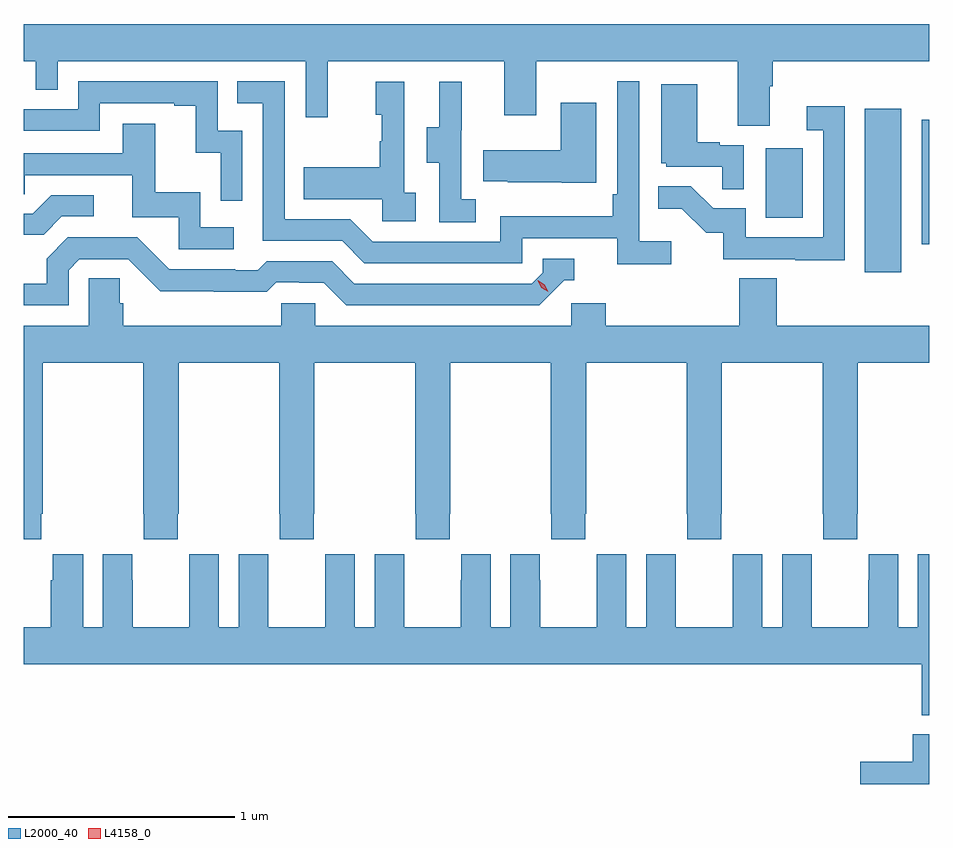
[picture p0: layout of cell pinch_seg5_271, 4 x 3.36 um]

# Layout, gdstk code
import gdstk
lib = gdstk.Library(unit=1e-6, precision=1e-09)
def R(c, l, rs):  # rectangles x0, y0, x1, y1
    for r in rs: c.add(gdstk.rectangle(r[:2], r[2:], *l))
def P(c, l, *ps):  # polygons
    for p in ps: c.add(gdstk.Polygon(p, *l))
L2000_40 = (2000, 40)
L4158_0 = (4158, 0)

pinch_seg5_271 = lib.new_cell('pinch_seg5_271')
R(pinch_seg5_271, L2000_40, [(892.628,909.108,892.789,909.829), (892.878,909.231,892.912,909.782), (892.19,909.348,892.354,909.655)])
P(pinch_seg5_271, L2000_40, [(892.207,909.928),(892.22,909.928),(892.22,910.04),(892.912,910.04),(892.912,910.204),(888.912,910.204),(888.912,910.04),(888.966,910.04),(888.966,909.913),(889.062,909.913),(889.062,910.04),(890.157,910.04),(890.157,909.792),(890.255,909.792),(890.255,910.04),(891.035,910.04),(891.035,909.801),(891.175,909.801),(891.175,910.04),(892.067,910.04),(892.067,909.754),(892.207,909.754)],
  [(891.772,909.244),(891.63,909.244),(891.63,909.952),(891.534,909.952),(891.534,909.451),(891.514,909.451),(891.514,909.355),(891.018,909.355),(891.018,909.243),(890.454,909.243),(890.355,909.342),(890.064,909.342),(890.064,909.951),(889.855,909.951),(889.855,909.855),(889.968,909.855),(889.968,909.246),(890.318,909.246),(890.417,909.147),(891.114,909.147),(891.114,909.258),(891.533,909.258),(891.533,909.142),(891.772,909.142)],
  [(889.878,909.732),(889.77,909.732),(889.77,909.951),(889.152,909.951),(889.152,909.828),(888.912,909.828),(888.912,909.732),(889.248,909.732),(889.248,909.855),(889.577,909.855),(889.577,909.843),(889.673,909.843),(889.673,909.635),(889.782,909.635),(889.782,909.423),(889.878,909.423)],
  [(890.644,909.458),(890.592,909.458),(890.592,909.949),(890.468,909.949),(890.468,909.804),(890.494,909.804),(890.494,909.686),(890.484,909.686),(890.484,909.571),(890.149,909.571),(890.149,909.431),(890.496,909.431),(890.496,909.333),(890.644,909.333)],
  [(890.908,909.431),(890.844,909.431),(890.844,909.735),(890.846,909.735),(890.846,909.949),(890.747,909.949),(890.747,909.747),(890.693,909.747),(890.693,909.592),(890.748,909.592),(890.748,909.328),(890.908,909.328)],
  [(892.092,909.669),(891.986,909.669),(891.986,909.682),(891.886,909.682),(891.886,909.937),(891.728,909.937),(891.728,909.588),(891.75,909.588),(891.75,909.573),(891.997,909.573),(891.997,909.475),(892.092,909.475)],
  [(891.442,909.856),(891.284,909.856),(891.284,909.646),(890.941,909.646),(890.941,909.509),(891.049,909.509),(891.049,909.506),(891.288,909.506),(891.288,909.503),(891.442,909.503)],
  [(892.539,909.841),(892.371,909.841),(892.371,909.735),(892.443,909.735),(892.443,909.261),(892.101,909.261),(892.101,909.39),(891.957,909.39),(891.859,909.488),(891.715,909.488),(891.715,909.389),(891.819,909.389),(891.926,909.282),(892.003,909.282),(892.003,909.165),(892.321,909.165),(892.321,909.16),(892.539,909.16)],
  [(889.84,909.306),(889.692,909.306),(889.692,909.46),(889.493,909.46),(889.493,909.763),(889.349,909.763),(889.349,909.633),(888.912,909.633),(888.912,909.453),(888.917,909.453),(888.917,909.537),(889.391,909.537),(889.391,909.351),(889.596,909.351),(889.596,909.21),(889.84,909.21)],
  [(889.08,909.354),(889.222,909.354),(889.222,909.447),(889.034,909.447),(888.953,909.366),(888.912,909.366),(888.912,909.274),(889,909.274)],
  [(889.11,909.117),(889.158,909.165),(889.374,909.165),(889.516,909.023),(889.752,909.023),(889.752,909.021),(889.985,909.021),(890.027,909.063),(890.13,909.063),(890.13,909.06),(890.237,909.06),(890.336,908.961),(891.189,908.961),(891.3,909.072),(891.343,909.072),(891.343,909.168),(891.204,909.168),(891.204,909.105),(891.156,909.057),(890.373,909.057),(890.274,909.156),(889.985,909.156),(889.946,909.117),(889.847,909.117),(889.847,909.12),(889.554,909.12),(889.413,909.261),(889.107,909.261),(889.013,909.167),(889.013,909.057),(888.912,909.057),(888.912,908.961),(889.11,908.961)],
  [(891.33,908.872),(890.199,908.872),(890.199,908.97),(890.049,908.97),(890.049,908.872),(889.352,908.872),(889.352,908.97),(889.337,908.97),(889.337,909.08),(889.2,909.08),(889.2,908.872),(888.912,908.872),(888.912,907.929),(888.989,907.929),(888.989,908.041),(888.996,908.041),(888.996,908.708),(889.441,908.708),(889.441,908.041),(889.443,908.041),(889.443,907.929),(889.593,907.929),(889.593,908.041),(889.596,908.041),(889.596,908.708),(890.041,908.708),(890.041,908.041),(890.043,908.041),(890.043,907.929),(890.193,907.929),(890.193,908.041),(890.196,908.041),(890.196,908.708),(890.641,908.708),(890.641,908.041),(890.643,908.041),(890.643,907.929),(890.793,907.929),(890.793,908.041),(890.796,908.041),(890.796,908.708),(891.241,908.708),(891.241,908.041),(891.243,908.041),(891.243,907.929),(891.393,907.929),(891.393,908.041),(891.396,908.041),(891.396,908.708),(891.841,908.708),(891.841,908.041),(891.843,908.041),(891.843,907.929),(891.993,907.929),(891.993,908.041),(891.996,908.041),(891.996,908.708),(892.441,908.708),(892.441,908.041),(892.443,908.041),(892.443,907.929),(892.593,907.929),(892.593,908.041),(892.596,908.041),(892.596,908.708),(892.912,908.708),(892.912,908.872),(892.238,908.872),(892.238,909.08),(892.073,909.08),(892.073,908.872),(891.482,908.872),(891.482,908.97),(891.33,908.97)],
  [(892.044,907.861),(892.044,907.748),(892.043,907.748),(892.043,907.54),(891.793,907.54),(891.793,907.748),(891.792,907.748),(891.792,907.861),(891.662,907.861),(891.662,907.54),(891.574,907.54),(891.574,907.861),(891.444,907.861),(891.444,907.748),(891.443,907.748),(891.443,907.54),(891.193,907.54),(891.193,907.748),(891.192,907.748),(891.192,907.861),(891.062,907.861),(891.062,907.54),(890.974,907.54),(890.974,907.861),(890.844,907.861),(890.844,907.748),(890.843,907.748),(890.843,907.54),(890.593,907.54),(890.593,907.748),(890.592,907.748),(890.592,907.861),(890.462,907.861),(890.462,907.54),(890.374,907.54),(890.374,907.861),(890.244,907.861),(890.244,907.748),(890.243,907.748),(890.243,907.54),(889.993,907.54),(889.993,907.748),(889.992,907.748),(889.992,907.861),(889.862,907.861),(889.862,907.54),(889.774,907.54),(889.774,907.861),(889.644,907.861),(889.644,907.748),(889.643,907.748),(889.643,907.54),(889.393,907.54),(889.393,907.748),(889.392,907.748),(889.392,907.861),(889.262,907.861),(889.262,907.54),(889.174,907.54),(889.174,907.861),(889.04,907.861),(889.04,907.748),(889.031,907.748),(889.031,907.54),(888.912,907.54),(888.912,907.376),(892.879,907.376),(892.879,907.151),(892.912,907.151),(892.912,907.861),(892.862,907.861),(892.862,907.54),(892.774,907.54),(892.774,907.861),(892.644,907.861),(892.644,907.748),(892.643,907.748),(892.643,907.54),(892.393,907.54),(892.393,907.748),(892.392,907.748),(892.392,907.861),(892.262,907.861),(892.262,907.54),(892.174,907.54),(892.174,907.861)],
  [(892.912,907.066),(892.838,907.066),(892.838,906.945),(892.608,906.945),(892.608,906.847),(892.912,906.847)])
P(pinch_seg5_271, L4158_0, [(891.229,909.021),(891.198,909.04),(891.182,909.072),(891.182,909.072),(891.182,909.072),(891.213,909.053),(891.229,909.021),(891.229,909.021)])

lib.write_gds('pinch_seg5_271.gds')
